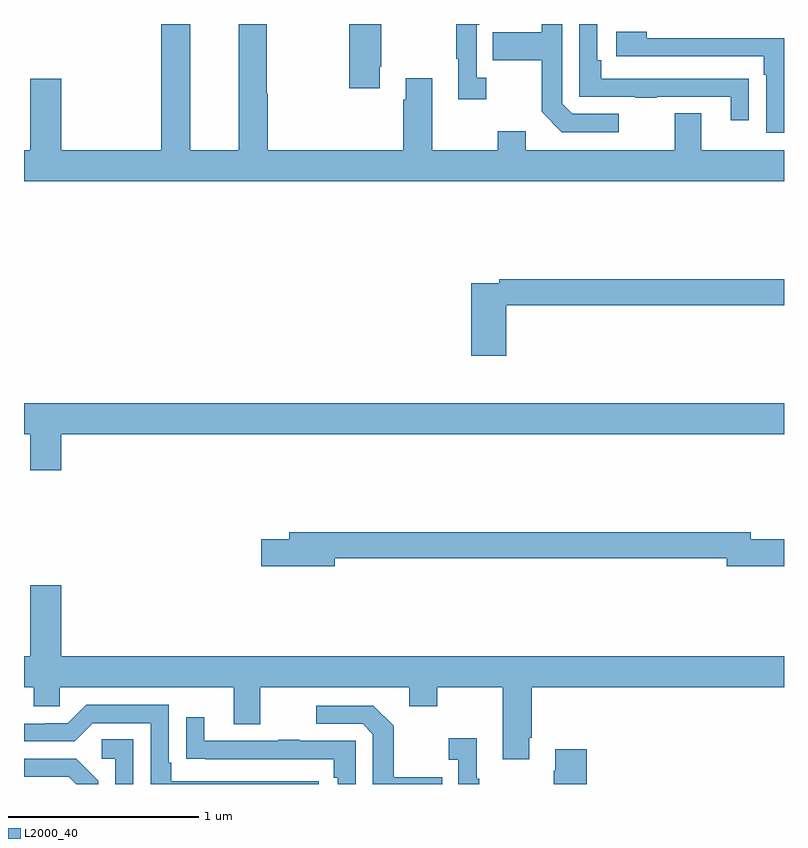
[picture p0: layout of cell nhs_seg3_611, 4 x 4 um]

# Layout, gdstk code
import gdstk
lib = gdstk.Library(unit=1e-6, precision=1e-09)
def P(c, l, *ps):  # polygons
    for p in ps: c.add(gdstk.Polygon(p, *l))
L2000_40 = (2000, 40)

nhs_seg3_611 = lib.new_cell('nhs_seg3_611')
P(nhs_seg3_611, L2000_40, [(144.815,712.112),(144.713,712.112),(144.713,712.113),(144.038,712.113),(144.038,712.21),(144.018,712.21),(144.018,712.4),(143.922,712.4),(143.922,712.017),(144.217,712.017),(144.217,712.012),(144.329,712.012),(144.329,712.017),(144.719,712.017),(144.719,711.894),(144.815,711.894)],
  [(144.13,711.927),(143.886,711.927),(143.832,711.981),(143.832,712.4),(143.724,712.4),(143.724,712.357),(143.467,712.357),(143.467,712.21),(143.724,712.21),(143.724,711.937),(143.829,711.831),(144.13,711.831)],
  [(142.873,712.174),(142.881,712.174),(142.881,712.4),(142.711,712.4),(142.711,712.062),(142.873,712.062)],
  [(142.278,712.032),(142.278,712.4),(142.13,712.4),(142.13,711.736),(141.874,711.736),(141.874,712.4),(141.722,712.4),(141.722,711.736),(141.196,711.736),(141.196,712.111),(141.032,712.111),(141.032,711.736),(141,711.736),(141,711.572),(145,711.572),(145,711.736),(144.565,711.736),(144.565,711.931),(144.425,711.931),(144.425,711.736),(143.641,711.736),(143.641,711.835),(143.494,711.835),(143.494,711.736),(143.149,711.736),(143.149,712.114),(143.009,712.114),(143.009,712.001),(142.997,712.001),(142.997,711.736),(142.283,711.736),(142.283,712.032)],
  [(143.434,712.118),(143.382,712.118),(143.382,712.397),(143.395,712.397),(143.395,712.4),(143.274,712.4),(143.274,712.217),(143.285,712.217),(143.285,712.005),(143.434,712.005)],
  [(145,712.326),(144.278,712.326),(144.278,712.36),(144.117,712.36),(144.117,712.23),(144.893,712.23),(144.893,712.133),(144.906,712.133),(144.906,711.828),(145,711.828)],
  [(143.537,710.92),(145,710.92),(145,711.056),(143.5,711.056),(143.5,711.036),(143.354,711.036),(143.354,710.655),(143.537,710.655)],
  [(141.196,710.24),(145,710.24),(145,710.404),(141,710.404),(141,710.24),(141.032,710.24),(141.032,710.052),(141.196,710.052)],
  [(142.636,709.588),(144.698,709.588),(144.698,709.546),(145,709.546),(145,709.688),(144.826,709.688),(144.826,709.724),(142.397,709.724),(142.397,709.688),(142.248,709.688),(142.248,709.546),(142.636,709.546)],
  [(143.659,708.643),(143.672,708.643),(143.672,708.908),(145,708.908),(145,709.072),(141.196,709.072),(141.196,709.447),(141.032,709.447),(141.032,709.072),(141,709.072),(141,708.908),(141.051,708.908),(141.051,708.81),(141.189,708.81),(141.189,708.908),(142.103,708.908),(142.103,708.714),(142.243,708.714),(142.243,708.908),(143.027,708.908),(143.027,708.809),(143.175,708.809),(143.175,708.908),(143.519,708.908),(143.519,708.531),(143.659,708.531)],
  [(142.552,708.414),(141.775,708.414),(141.775,708.511),(141.762,708.511),(141.762,708.816),(141.327,708.816),(141.231,708.72),(141.113,708.72),(141.113,708.717),(141,708.717),(141,708.624),(141.267,708.624),(141.363,708.72),(141.666,708.72),(141.666,708.4),(142.552,708.4)],
  [(143.201,708.435),(142.945,708.435),(142.945,708.707),(142.839,708.813),(142.539,708.813),(142.539,708.717),(142.782,708.717),(142.836,708.663),(142.836,708.4),(143.201,708.4)],
  [(142.746,708.627),(142.451,708.627),(142.451,708.632),(142.339,708.632),(142.339,708.627),(141.949,708.627),(141.949,708.751),(141.853,708.751),(141.853,708.532),(141.955,708.532),(141.955,708.531),(142.63,708.531),(142.63,708.434),(142.65,708.434),(142.65,708.4),(142.746,708.4)],
  [(143.395,708.427),(143.383,708.427),(143.383,708.64),(143.235,708.64),(143.235,708.527),(143.286,708.527),(143.286,708.4),(143.395,708.4)],
  [(141.576,708.635),(141.408,708.635),(141.408,708.534),(141.48,708.534),(141.48,708.4),(141.576,708.4)],
  [(143.963,708.583),(143.795,708.583),(143.795,708.47),(143.788,708.47),(143.788,708.4),(143.963,708.4)],
  [(141.39,708.418),(141.274,708.534),(141,708.534),(141,708.438),(141.236,708.438),(141.274,708.4),(141.39,708.4)])

lib.write_gds('nhs_seg3_611.gds')
